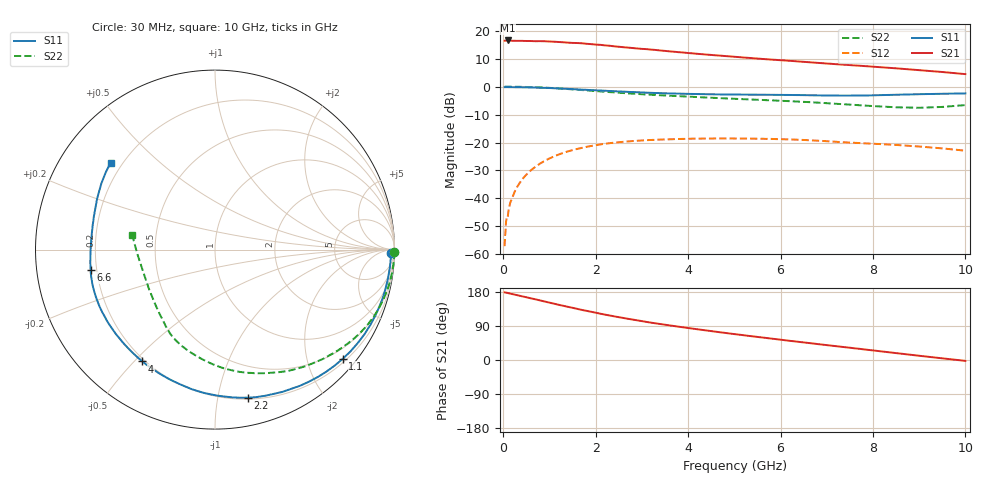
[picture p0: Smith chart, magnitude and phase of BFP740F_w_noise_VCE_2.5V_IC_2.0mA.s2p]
! Infineon Technologies  Discrete & RF Semiconductors
! BFP740F
! VCE =  2.5 V,  IC =  2.0 mA
! Common Emitter S-Parameters:  Oct 2012
# GHz  S  MA  R  50
!  f  S11  S21  S12  S22
! GHz  MAG  ANG  MAG  ANG  MAG  ANG  MAG  ANG
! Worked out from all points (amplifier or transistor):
!   99 points, 30 MHz to 10 GHz, reference 50 ohm
!   highest |S21| = 16.5 dB at 100 MHz (marker M1)
!   |S21| within 3 dB of that: start of sweep to 2.99 GHz
!   unconditionally stable (mu >= 1): 9.452 GHz to end of sweep
!   at 350 MHz: K = 0.01, MSG = 25.5 dB, |S12| = -34.6 dB
!   at 3.5 GHz: K = 0.22, MSG = 15.8 dB, |S12| = -18.9 dB
!   at 10 GHz: K = 1.10, MAG = 11.8 dB, |S12| = -22.9 dB
!   lowest NFmin = 0.37 dB at 450 MHz
!   S11 on the Smith chart (normalised r, x): 30 MHz: 52, -50; 1.1 GHz: 0.27, -2.69; 2.2 GHz: 0.21, -1.22; 4 GHz: 0.19, -0.53; 6.6 GHz: 0.18, -0.08; 10 GHz: 0.16, +0.35
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0.03  0.9801 -1.1  6.633 178.4  0.0014 78.6  0.9993 -0.8
0.06  0.9801 -2.2  6.666 177.9  0.0038 94.1  0.9997 -1.6
0.1  0.9796 -3.7  6.703 176.7  0.0048 88.6  0.9988 -2.6
0.15  0.9794 -5.6  6.647 175.3  0.0083 87.1  0.9976 -3.8
0.4  0.9734 -14.9  6.595 168.3  0.0214 80.2  0.9906 -10.2
0.8  0.9569 -29.6  6.518 157.1  0.0422 70.1  0.9678 -20.4
1.1  0.9365 -40.5  6.363 148.6  0.0567 62.3  0.9397 -28.1
1.3  0.9205 -47.6  6.219 143.0  0.0654 57.2  0.9172 -33.1
1.7  0.8836 -61.6  5.966 132.2  0.0802 47.7  0.8686 -42.6
2.2  0.845 -77.5  5.472 119.8  0.095 36.5  0.8102 -54.5
2.7  0.8069 -91.7  4.992 108.7  0.1047 27.0  0.7581 -64.7
3.1  0.7801 -102.4  4.688 100.5  0.1102 20.3  0.724 -72.1
3.4  0.7655 -109.5  4.434 94.9  0.1129 15.5  0.7012 -77.1
4  0.7427 -123.0  3.993 84.4  0.1168 7.1  0.6634 -85.7
4.7  0.726 -137.7  3.587 73.0  0.1183 -1.8  0.622 -94.9
5.1  0.7216 -145.5  3.377 66.9  0.118 -6.6  0.6013 -100.0
5.8  0.7145 -157.5  3.05 56.5  0.1161 -14.5  0.5692 -108.7
6.6  0.7024 -170.7  2.741 45.0  0.1101 -23.3  0.5292 -118.4
6.7  0.6998 -172.4  2.702 43.6  0.1091 -24.4  0.5231 -119.5
7.7  0.6932 170.3  2.371 29.6  0.098 -32.2  0.4651 -132.7
8.5  0.7159 156.5  2.127 18.2  0.0906 -37.9  0.4273 -149.9
10  0.7572 140.2  1.675 -2.3  0.0715 -47.3  0.468 170.1
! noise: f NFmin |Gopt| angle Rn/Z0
0.45  0.37  0.55  9  0.3
0.9  0.44  0.56  17  0.26
1.5  0.55  0.55  27  0.24
1.9  0.63  0.52  37  0.24
2.4  0.73  0.49  45  0.24
3.5  0.95  0.44  70  0.23
5.5  1.33  0.35  115  0.23
10  2.08  0.52  -136  0.1
